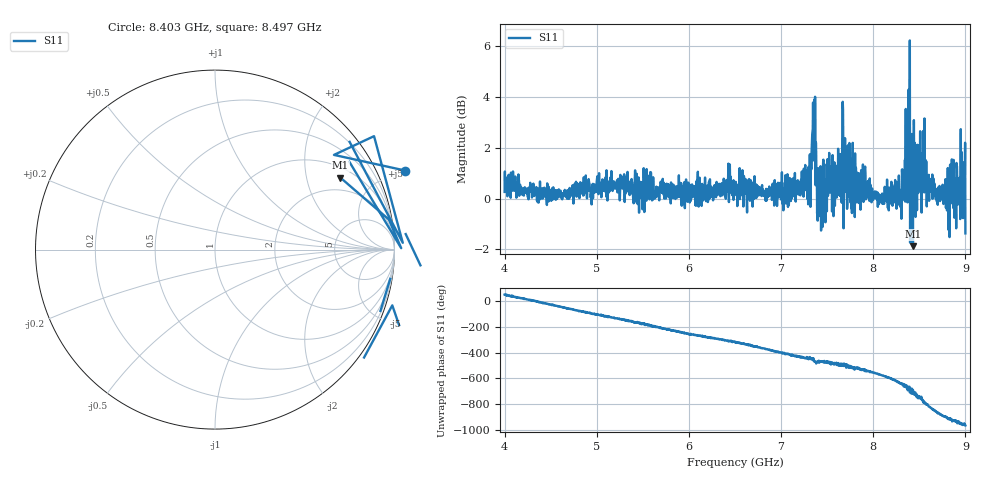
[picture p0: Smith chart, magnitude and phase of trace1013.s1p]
! Created with skrf 1.8.0 (http://scikit-rf.org).
# Hz S RI R 50.0
!freq ReS11 ImS11
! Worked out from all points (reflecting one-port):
!   1601 points, 4 GHz to 9 GHz, reference 50 ohm
!   lowest |S11| = -1.9 dB at 8.431 GHz (marker M1), VSWR 9.29, Z = 69.8 + j159 ohm
!   phase of S11 starts at 52 deg and turns -1020 deg over the sweep
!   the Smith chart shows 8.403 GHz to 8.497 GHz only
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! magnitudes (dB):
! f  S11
! 4 GHz  0.3
! 4.625 GHz  0.0
! 5.25 GHz  -0.1
! 5.875 GHz  0.3
! 6.5 GHz  0.5
! 7.125 GHz  0.6
! 7.294 GHz  -0.2
! 7.347 GHz  3.8
! 7.362 GHz  3.9
! 7.409 GHz  -0.7
! 7.525 GHz  1.1
! 7.591 GHz  0.8
! 7.669 GHz  3.8
! 7.688 GHz  1.9
! 7.703 GHz  0.3
! 7.75 GHz  0.6
! 7.775 GHz  1.4
! 8.281 GHz  0.2
! 8.322 GHz  0.3
! 8.375 GHz  0.5
! 8.412 GHz  0.4
! 8.431 GHz  -1.9
! 8.531 GHz  1.8
! 8.606 GHz  -0.1
! 8.806 GHz  0.3
! 8.859 GHz  1.1
! 8.972 GHz  0.5
! 9 GHz  -1.4
